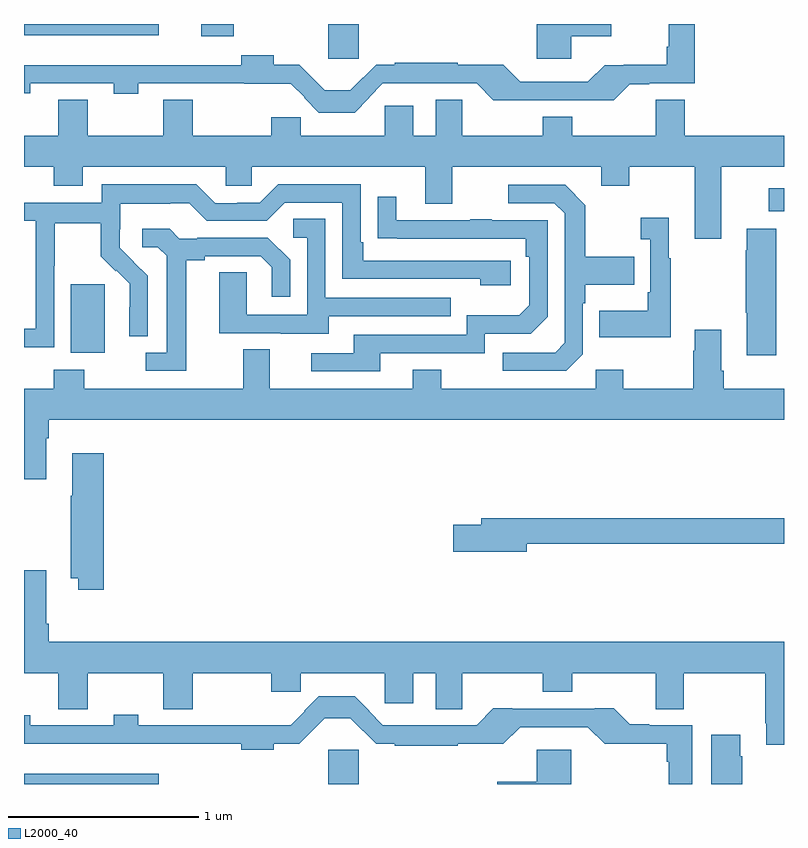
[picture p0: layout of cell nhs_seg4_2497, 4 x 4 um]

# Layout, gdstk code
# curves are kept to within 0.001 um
import gdstk
lib = gdstk.Library(unit=1e-6, precision=1e-09)
def R(c, l, rs):  # rectangles x0, y0, x1, y1
    for r in rs: c.add(gdstk.rectangle(r[:2], r[2:], *l))
def P(c, l, *ps):  # polygons
    for p in ps: c.add(gdstk.Polygon(p, *l))
L2000_40 = (2000, 40)

nhs_seg4_2497 = lib.new_cell('nhs_seg4_2497')
R(nhs_seg4_2497, L2000_40, [(241,798.9,241.708,798.955), (242.6,798.9,242.762,799.081), (241.247,801.17,241.426,801.531), (244.92,801.914,245,802.036), (242.6,802.716,242.762,802.9), (241.934,802.835,242.105,802.9), (241,802.841,241.708,802.9)])
P(nhs_seg4_2497, L2000_40, [(242.818,802.511),(242.816,802.514),(242.889,802.587),(243.383,802.587),(243.471,802.499),(244.104,802.499),(244.187,802.582),(244.291,802.582),(244.291,802.587),(244.529,802.587),(244.529,802.9),(244.394,802.9),(244.394,802.78),(244.382,802.78),(244.382,802.686),(244.156,802.686),(244.156,802.684),(244.056,802.684),(243.968,802.596),(243.612,802.596),(243.522,802.686),(243.284,802.686),(243.284,802.696),(242.95,802.696),(242.95,802.686),(242.853,802.686),(242.718,802.551),(242.583,802.551),(242.448,802.686),(242.314,802.686),(242.314,802.735),(242.144,802.735),(242.144,802.684),(241,802.684),(241,802.536),(241.034,802.536),(241.034,802.587),(241.473,802.587),(241.473,802.532),(241.601,802.532),(241.601,802.587),(242.404,802.586),(242.477,802.514),(242.474,802.511),(242.551,802.433),(242.741,802.433)],
  [(243.881,802.835),(244.09,802.835),(244.09,802.9),(243.698,802.9),(243.698,802.716),(243.881,802.716)],
  [(244.669,802.148),(245,802.148),(245,802.312),(244.478,802.312),(244.478,802.502),(244.325,802.502),(244.325,802.312),(243.885,802.312),(243.885,802.411),(243.73,802.411),(243.73,802.312),(243.307,802.312),(243.307,802.502),(243.167,802.502),(243.167,802.312),(243.049,802.312),(243.049,802.471),(242.898,802.471),(242.898,802.312),(242.456,802.312),(242.456,802.41),(242.302,802.41),(242.302,802.312),(241.887,802.312),(241.887,802.502),(241.732,802.502),(241.732,802.312),(241.335,802.312),(241.335,802.502),(241.18,802.502),(241.18,802.312),(241,802.312),(241,802.148),(241.157,802.148),(241.157,802.049),(241.309,802.049),(241.309,802.148),(242.061,802.148),(242.061,802.05),(242.199,802.05),(242.199,802.148),(243.113,802.148),(243.113,801.954),(243.253,801.954),(243.253,802.148),(244.037,802.148),(244.037,802.049),(244.185,802.049),(244.185,802.148),(244.529,802.148),(244.529,801.771),(244.669,801.771)],
  [(241.158,801.628),(241.161,801.628),(241.161,801.852),(241.405,801.852),(241.405,801.677),(241.482,801.6),(241.485,801.603),(241.556,801.533),(241.556,801.41),(241.554,801.41),(241.554,801.256),(241.65,801.256),(241.65,801.574),(241.504,801.722),(241.504,801.819),(241.506,801.819),(241.506,801.953),(241.769,801.953),(241.769,801.957),(241.869,801.957),(241.962,801.864),(242.277,801.864),(242.373,801.96),(242.676,801.96),(242.676,801.558),(243.401,801.558),(243.401,801.524),(243.562,801.524),(243.562,801.654),(242.785,801.654),(242.785,801.751),(242.772,801.751),(242.772,802.056),(242.337,802.056),(242.241,801.96),(242.123,801.96),(242.123,801.957),(242.007,801.957),(241.907,802.057),(241.41,802.057),(241.41,801.96),(241,801.96),(241,801.864),(241.062,801.864),(241.062,801.297),(241,801.297),(241,801.199),(241.158,801.199)],
  [(243.942,801.162),(243.942,801.431),(243.955,801.431),(243.955,801.527),(244.211,801.527),(244.211,801.675),(243.955,801.675),(243.955,801.947),(243.849,802.053),(243.549,802.053),(243.549,801.957),(243.792,801.957),(243.846,801.903),(243.846,801.222),(243.795,801.171),(243.519,801.171),(243.519,801.075),(243.855,801.075)],
  [(242.875,801.168),(243.426,801.168),(243.426,801.27),(243.666,801.27),(243.756,801.36),(243.756,801.867),(243.461,801.867),(243.461,801.872),(243.349,801.872),(243.349,801.867),(242.959,801.867),(242.959,801.991),(242.863,801.991),(242.863,801.772),(243.64,801.771),(243.64,801.674),(243.66,801.674),(243.66,801.42),(243.607,801.367),(243.33,801.367),(243.33,801.264),(242.735,801.264),(242.735,801.168),(242.511,801.168),(242.511,801.072),(242.875,801.072)],
  [(244.405,801.667),(244.393,801.667),(244.393,801.88),(244.245,801.88),(244.245,801.767),(244.296,801.767),(244.296,801.487),(244.284,801.487),(244.284,801.391),(244.027,801.391),(244.027,801.251),(244.405,801.251)],
  [(242.605,801.363),(243.245,801.363),(243.245,801.459),(242.586,801.459),(242.586,801.875),(242.418,801.875),(242.418,801.774),(242.49,801.774),(242.49,801.369),(242.172,801.369),(242.172,801.593),(242.027,801.593),(242.027,801.273),(242.351,801.273),(242.351,801.269),(242.605,801.269)],
  [(241.855,801.656),(241.951,801.656),(241.951,801.678),(242.246,801.678),(242.303,801.621),(242.303,801.465),(242.4,801.465),(242.4,801.658),(242.284,801.774),(241.912,801.774),(241.912,801.771),(241.818,801.771),(241.766,801.823),(241.623,801.823),(241.623,801.726),(241.704,801.726),(241.751,801.679),(241.751,801.171),(241.641,801.171),(241.641,801.075),(241.855,801.075)],
  [(244.96,801.823),(244.805,801.823),(244.805,801.71),(244.798,801.71),(244.798,801.379),(244.805,801.379),(244.805,801.156),(244.96,801.156)],
  [(241.117,800.72),(241.13,800.72),(241.13,800.816),(245,800.816),(245,800.98),(244.682,800.98),(244.682,801.076),(244.669,801.076),(244.669,801.292),(244.529,801.292),(244.529,801.179),(244.522,801.179),(244.522,800.98),(244.155,800.98),(244.155,801.079),(244.008,801.079),(244.008,800.98),(243.195,800.98),(243.195,801.079),(243.047,801.079),(243.047,800.98),(242.293,800.98),(242.293,801.188),(242.153,801.188),(242.153,800.98),(241.317,800.98),(241.317,801.079),(241.157,801.079),(241.157,800.98),(241,800.98),(241,800.505),(241.117,800.505)],
  [(241.421,800.641),(241.253,800.641),(241.253,800.417),(241.246,800.417),(241.246,799.982),(241.286,799.982),(241.286,799.923),(241.421,799.923)],
  [(243.646,800.164),(245,800.164),(245,800.3),(243.407,800.3),(243.407,800.264),(243.258,800.264),(243.258,800.122),(243.646,800.122)],
  [(245,799.648),(241.13,799.648),(241.13,799.744),(241.117,799.744),(241.117,800.026),(241,800.026),(241,799.484),(241.18,799.484),(241.18,799.294),(241.335,799.294),(241.335,799.484),(241.732,799.484),(241.732,799.294),(241.887,799.294),(241.887,799.484),(242.302,799.484),(242.302,799.386),(242.456,799.386),(242.456,799.484),(242.898,799.484),(242.898,799.326),(243.049,799.326),(243.049,799.484),(243.167,799.484),(243.167,799.294),(243.307,799.294),(243.307,799.484),(243.73,799.484),(243.73,799.385),(243.885,799.385),(243.885,799.484),(244.325,799.484),(244.325,799.294),(244.473,799.294),(244.473,799.484),(244.9,799.484),(244.9,799.219),(244.907,799.219),(244.907,799.107),(245,799.107)],
  [(244.516,799.209),(244.291,799.209),(244.291,799.214),(244.187,799.214),(244.104,799.298),(244.004,799.298),(244.004,799.296),(243.571,799.296),(243.571,799.298),(243.471,799.298),(243.383,799.209),(242.889,799.209),(242.816,799.283),(242.818,799.285),(242.741,799.363),(242.551,799.363),(242.474,799.285),(242.477,799.283),(242.404,799.21),(241.601,799.209),(241.601,799.264),(241.473,799.264),(241.473,799.209),(241.034,799.209),(241.034,799.261),(241,799.261),(241,799.112),(242.144,799.111),(242.144,799.079),(242.314,799.079),(242.314,799.111),(242.448,799.111),(242.583,799.245),(242.718,799.245),(242.853,799.111),(242.95,799.111),(242.95,799.101),(243.284,799.101),(243.284,799.112),(243.523,799.112),(243.612,799.2),(243.968,799.2),(244.057,799.111),(244.382,799.111),(244.382,799.016),(244.394,799.016),(244.394,798.9),(244.516,798.9)],
  [(244.779,799.046),(244.771,799.046),(244.771,799.159),(244.616,799.159),(244.616,798.9),(244.779,798.9)],
  [(243.881,799.081),(243.698,799.081),(243.698,798.913),(243.492,798.913),(243.492,798.9),(243.881,798.9)])

lib.write_gds('nhs_seg4_2497.gds')
